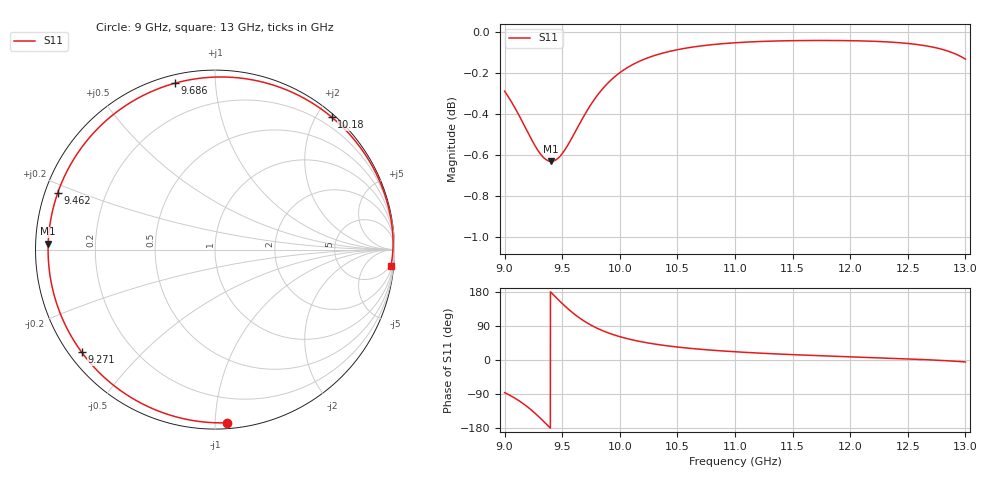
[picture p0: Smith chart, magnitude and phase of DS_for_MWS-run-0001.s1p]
! TOUCHSTONE file generated by CST DESIGN STUDIO
! Date and time: Tue Feb  4 15:41:34 2025
! Project name: C:\Work\MatlabApps\UnitCellOptimizationMatlab\CST\unitcell.cst
! Tree item: Tasks\Sweep1\SPara1\S-Parameters
! Header version: 2024
! Port assignment regex: !\s*Touchstone port\s*([0-9]+)\s*=\s*(CST MWS port|CST DES external port|CST DES block port)\s*(.+)\s* \(\"(.*)\"\)(\s*mode\s*([0-9]+))?.*
! Touchstone port assignment:
! Touchstone port 1 = CST DES external port 1 ("")
# GHz S MA R 50
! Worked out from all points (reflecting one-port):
!   4001 points, 9 GHz to 13 GHz, reference 50 ohm
!   lowest |S11| = -0.6 dB at 9.404 GHz (marker M1), VSWR 27.55, Z = 1.82 + j0.868 ohm
!   phase of S11 starts at -86 deg and turns -279 deg over the sweep
!   S11 on the Smith chart (normalised r, x): 9 GHz: 0.04, -1.07; 9.271 GHz: 0.04, -0.34; 9.462 GHz: 0.04, +0.17; 9.686 GHz: 0.04, +0.79; 10.18 GHz: 0.05, +2.21; 13 GHz: 4, -21
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9  0.9672 -86.2
9.02  0.9653 -89.1
9.08  0.9592 -99.0
9.148  0.9515 -112.3
9.211  0.944 -126.7
9.271  0.9374 -142.4
9.341  0.9318 -162.7
9.373  0.9304 -172.4
9.404  0.9299 178.0
9.462  0.9315 160.2
9.5  0.934 149.0
9.546  0.9381 136.1
9.591  0.943 124.6
9.637  0.9482 113.8
9.686  0.9536 103.6
9.755  0.9605 91.2
9.838  0.9675 79.1
9.916  0.9728 69.8
10  0.9773 61.6
10.18  0.9838 48.6
10.326  0.9872 41.0
10.5  0.9899 34.2
10.723  0.9921 27.7
11  0.9938 21.7
11.5  0.9949 14.1
12  0.9949 8.4
12.5  0.9934 2.9
13  0.9847 -5.2
